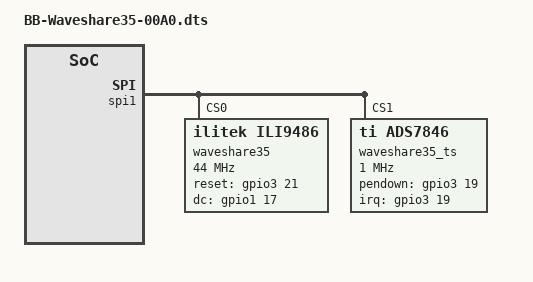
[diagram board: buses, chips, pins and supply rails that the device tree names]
/*
 * Device Tree overlay for Waveshare 3.5" TFT LCD
 *
 * @author: Alex Rau (rau.alex@gmail.com)
 *
 */

/dts-v1/;
/plugin/;

#include <dt-bindings/board/am335x-bbw-bbb-base.h>
#include <dt-bindings/pinctrl/am33xx.h>

/ {
        compatible = "ti,beaglebone", "ti,beaglebone-black";

        part-number = "BB-Waveshare35";
        version = "00A0";

        exclusive-use =
                "P9.28",
                "P9.29", "P9.30","P9.31", "P9.30", "P9.23", "P9.25", "P9.27",
                "spi1", "gpio1_17", "gpio3_21", "gpio3_19";

        fragment@0 {
                target = <&am33xx_pinmux>;
                __overlay__ {
                        waveshare35_pins: pinmux_waveshare35_pins {
                                pinctrl-single,pins = <
                                        BONE_P9_28 (PIN_OUTPUT | MUX_MODE3) //SPI1_CS0
                                        BONE_P9_42A (PIN_OUTPUT | MUX_MODE2) //SPI1_CS1
                                        BONE_P9_30 (PIN_OUTPUT | MUX_MODE3) //SPI1_D1
                                        BONE_P9_29 (PIN_INPUT_PULLDOWN | MUX_MODE3)  //SPI1_D0
                                        BONE_P9_31 (PIN_INPUT | MUX_MODE3)  //SPI1_SCLK
                                        BONE_P9_23 (PIN_OUTPUT | MUX_MODE7) // Direct Command for TFT
                                        BONE_P9_25 (PIN_OUTPUT | MUX_MODE7) // Reset TFT
                                        BONE_P9_27 (PIN_INPUT_PULLUP | MUX_MODE7) // Touch interrupt from TFT
                                >;
                        };
                };
        };

        fragment@1 {
                target = <&spi1>;
                __overlay__ {
                        status = "okay";

                        spidev@0{
                                status = "disabled";
                        };

                        spidev@1{
                                status = "disabled";
                        };
                };
        };

        fragment@2 {
                target = <&spi1>;
                __overlay__ {
                        #address-cells = <1>;
                        #size-cells = <0>;

                                pinctrl-names = "default";
                                pinctrl-0 = <&waveshare35_pins>;

                        waveshare35: waveshare35@0{
                                compatible = "ilitek,ili9486";
                                reg = <0>;
                                
                                spi-max-frequency = <44000000>;
                                txbuflen = <307200>;
                                rotate = <90>;
                                fps = <60>;
                                bgr = <0>;
                                buswidth = <8>;
                                regwidth = <16>;
                                reset-gpios = <&gpio3 21 0>;
                                dc-gpios = <&gpio1 17 0>;
                                debug = <1>;
                                init = <0x10000b0 0x00
                                        0x1000011
                                        0x20000ff
                                        0x100003a 0x55
                                        0x1000036 0x28
                                        0x10000c2 0x44
                                        0x10000c5 0x00 0x00 0x00 0x00
                                        0x10000e0 0x0f 0x1f 0x1c 0x0c 0x0f 0x08 0x48 0x98 0x37 0x0a 0x13 0x04 0x11 0x0d 0x00
                                        0x10000e1 0x0f 0x32 0x2e 0x0b 0x0d 0x05 0x47 0x75 0x37 0x06 0x10 0x03 0x24 0x20 0x00
                                        0x10000e2 0x0f 0x32 0x2e 0x0b 0x0d 0x05 0x47 0x75 0x37 0x06 0x10 0x03 0x24 0x20 0x00
                                        0x1000036 0x28
                                        0x1000011
                                        0x1000029>;
                        };

                        waveshare35_ts: waveshare35-ts@1 {
                                compatible = "ti,ads7846";
                                reg = <1>;

                                spi-max-frequency = <1000000>;
                                interrupts = <19 0>;
                                interrupt-parent = <&gpio3>;
                                pendown-gpio = <&gpio3 19 0>;
                                ti,x-min = /bits/ 16 <0>;
                                ti,y-min = /bits/ 16 <0>;
                                ti,x-max = /bits/ 16 <0x0FFF>;
                                ti,y-max = /bits/ 16 <0x0FFF>;
                                ti,pressure-min = /bits/ 16 <0>;
                                ti,pressure-max = /bits/ 16 <0xFFFF>;
                                ti,x-plate-ohms = /bits/ 16 <60>;
                                wakeup-source;
                                verbose = <1>;
                        };
                };
        };

        __overrides__ {
                speed =         <&waveshare35>,"spi-max-frequency:0";
                txbuflen =      <&waveshare35>,"txbuflen:0";
                rotate =        <&waveshare35>,"rotate:0";
                fps =           <&waveshare35>,"fps:0";
                bgr =           <&waveshare35>,"bgr:0";
                debug =         <&waveshare35>,"debug:0";
                swapxy =        <&waveshare35_ts>,"swap-xy?";
        };

};
